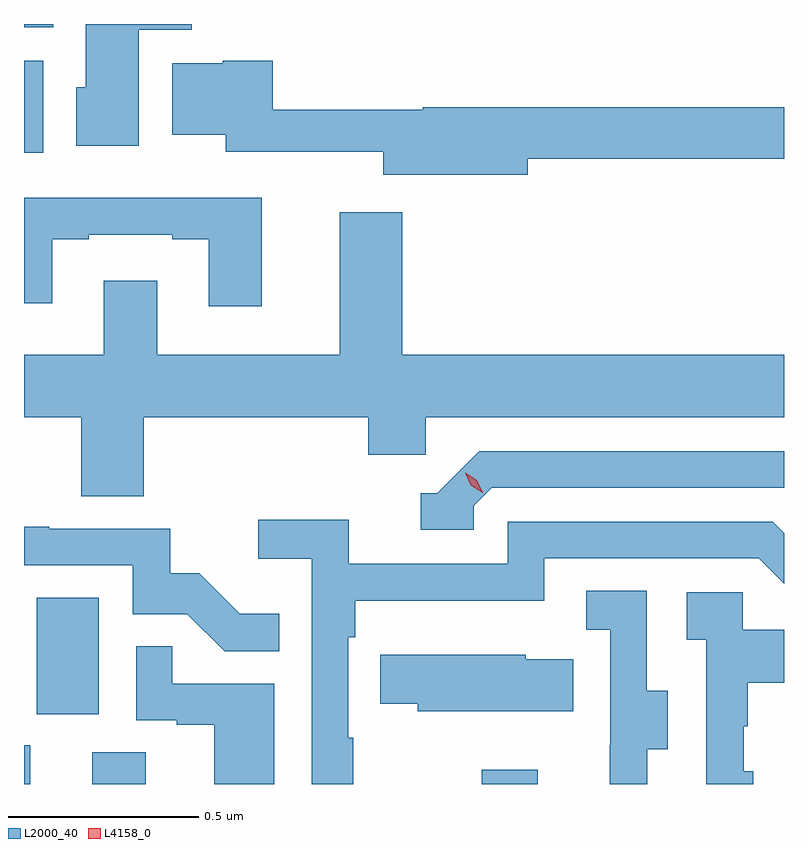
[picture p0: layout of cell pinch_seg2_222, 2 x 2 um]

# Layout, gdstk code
import gdstk
lib = gdstk.Library(unit=1e-6, precision=1e-09)
def R(c, l, rs):  # rectangles x0, y0, x1, y1
    for r in rs: c.add(gdstk.rectangle(r[:2], r[2:], *l))
def P(c, l, *ps):  # polygons
    for p in ps: c.add(gdstk.Polygon(p, *l))
L2000_40 = (2000, 40)
L4158_0 = (4158, 0)

pinch_seg2_222 = lib.new_cell('pinch_seg2_222')
R(pinch_seg2_222, L2000_40, [(955.385,657.327,955.402,657.429), (955.565,657.327,955.705,657.41), (956.59,657.327,956.737,657.364), (955.418,657.51,955.582,657.817), (955.385,658.988,955.435,659.23), (955.385,659.318,955.462,659.327)])
P(pinch_seg2_222, L2000_40, [(955.687,659.312),(955.826,659.312),(955.826,659.327),(955.547,659.327),(955.547,659.16),(955.523,659.16),(955.523,659.006),(955.687,659.006)],
  [(956.71,658.972),(957.385,658.972),(957.385,659.108),(956.434,659.108),(956.434,659.101),(956.039,659.101),(956.039,659.23),(955.908,659.23),(955.908,659.224),(955.775,659.224),(955.775,659.036),(955.916,659.036),(955.916,658.991),(956.33,658.991),(956.33,658.93),(956.71,658.93)],
  [(956.011,658.87),(955.385,658.87),(955.385,658.592),(955.459,658.592),(955.459,658.761),(955.555,658.761),(955.555,658.773),(955.775,658.773),(955.775,658.761),(955.871,658.761),(955.871,658.584),(956.011,658.584)],
  [(955.7,658.292),(956.291,658.292),(956.291,658.194),(956.442,658.194),(956.442,658.292),(957.385,658.292),(957.385,658.456),(956.38,658.456),(956.38,658.831),(956.216,658.831),(956.216,658.456),(955.735,658.456),(955.735,658.651),(955.595,658.651),(955.595,658.456),(955.385,658.456),(955.385,658.292),(955.535,658.292),(955.535,658.084),(955.7,658.084)],
  [(956.568,658.059),(956.616,658.107),(957.385,658.107),(957.385,658.203),(956.583,658.203),(956.472,658.092),(956.429,658.092),(956.429,657.996),(956.568,657.996)],
  [(956.251,657.449),(956.238,657.449),(956.238,657.713),(956.257,657.713),(956.257,657.809),(956.754,657.809),(956.754,657.921),(957.318,657.921),(957.385,657.854),(957.385,657.987),(957.355,658.017),(956.658,658.017),(956.658,657.906),(956.24,657.906),(956.24,658.022),(956.001,658.022),(956.001,657.92),(956.142,657.92),(956.142,657.327),(956.251,657.327)],
  [(956.057,657.775),(955.953,657.775),(955.846,657.882),(955.77,657.882),(955.77,657.999),(955.451,657.999),(955.451,658.004),(955.385,658.004),(955.385,657.903),(955.671,657.903),(955.671,657.774),(955.815,657.774),(955.913,657.676),(956.057,657.676)],
  [(957.025,657.418),(957.079,657.418),(957.079,657.573),(957.024,657.573),(957.024,657.836),(956.865,657.836),(956.865,657.733),(956.928,657.733),(956.928,657.429),(956.927,657.429),(956.927,657.327),(957.025,657.327)],
  [(957.304,657.36),(957.279,657.36),(957.279,657.479),(957.289,657.479),(957.289,657.593),(957.385,657.593),(957.385,657.733),(957.276,657.733),(957.276,657.831),(957.129,657.831),(957.129,657.707),(957.18,657.707),(957.18,657.327),(957.304,657.327)],
  [(956.044,657.591),(955.775,657.591),(955.775,657.689),(955.68,657.689),(955.68,657.495),(955.787,657.495),(955.787,657.483),(955.886,657.483),(955.886,657.327),(956.044,657.327)],
  [(956.831,657.655),(956.706,657.655),(956.706,657.667),(956.323,657.667),(956.323,657.538),(956.421,657.538),(956.421,657.518),(956.831,657.518)])
P(pinch_seg2_222, L4158_0, [(956.592,658.093),(956.561,658.113),(956.546,658.146),(956.546,658.146),(956.546,658.146),(956.576,658.126),(956.592,658.093),(956.592,658.093)])

lib.write_gds('pinch_seg2_222.gds')
